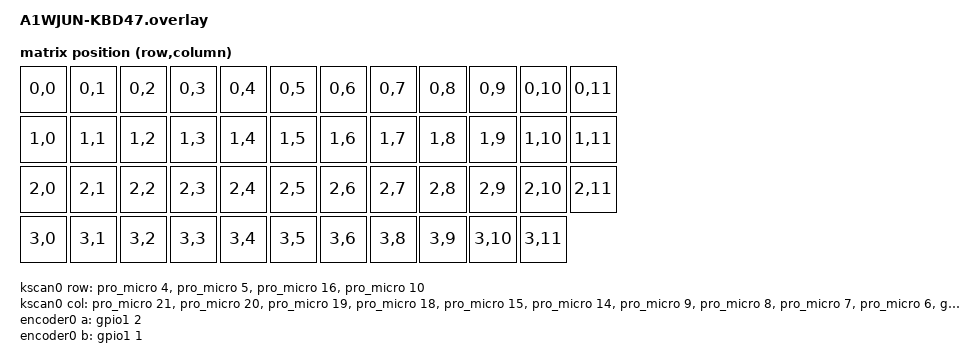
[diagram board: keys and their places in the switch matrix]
#include <dt-bindings/zmk/matrix_transform.h>
#include "A1WJUN-KBD47.dtsi"   // 已包含 physical_layouts.dtsi，避免重复 include

/ {
    // ========== 矩阵变换 ==========
    default_transform: keymap_transform_0 {
        compatible = "zmk,matrix-transform";
        columns = <12>;
        rows = <4>;
        map = <
            RC(0,0)  RC(0,1)  RC(0,2)  RC(0,3)  RC(0,4)  RC(0,5)  RC(0,6)  RC(0,7)  RC(0,8)  RC(0,9)  RC(0,10) RC(0,11)
            RC(1,0)  RC(1,1)  RC(1,2)  RC(1,3)  RC(1,4)  RC(1,5)  RC(1,6)  RC(1,7)  RC(1,8)  RC(1,9)  RC(1,10) RC(1,11)
            RC(2,0)  RC(2,1)  RC(2,2)  RC(2,3)  RC(2,4)  RC(2,5)  RC(2,6)  RC(2,7)  RC(2,8)  RC(2,9)  RC(2,10) RC(2,11)
            RC(3,0)  RC(3,1)  RC(3,2)  RC(3,3)  RC(3,4)  RC(3,5)  RC(3,6)  RC(3,8)  RC(3,9)  RC(3,10) RC(3,11)
        >;
    };

    // ========== GPIO 扫描驱动 ==========
    // wakeup-source：睡眠/软关机后，按键触发 GPIO 中断即可唤醒 MCU（机械轴唤醒）
    kscan0: kscan_0 {
        compatible = "zmk,kscan-gpio-matrix";
        status = "okay";
        wakeup-source;                              // 整个 kscan 作为唤醒源，覆盖所有 row/col GPIO
        diode-direction = "col2row";

        // 去抖 5ms，与 .conf 中 ZMK_KSCAN_DEBOUNCE_*_MS=5 保持一致
        // 机械轴适用，量产批次更稳定，避免双击
        debounce-press-ms = <5>;
        debounce-release-ms = <5>;
        debounce-scan-period-ms = <1>;

        col-gpios
           = <&pro_micro 21 GPIO_ACTIVE_HIGH>  // COL0
            , <&pro_micro 20 GPIO_ACTIVE_HIGH> // COL1
            , <&pro_micro 19 GPIO_ACTIVE_HIGH> // COL2
            , <&pro_micro 18 GPIO_ACTIVE_HIGH> // COL3
            , <&pro_micro 15 GPIO_ACTIVE_HIGH> // COL4
            , <&pro_micro 14 GPIO_ACTIVE_HIGH> // COL5
            , <&pro_micro  9 GPIO_ACTIVE_HIGH> // COL6
            , <&pro_micro  8 GPIO_ACTIVE_HIGH> // COL7
            , <&pro_micro  7 GPIO_ACTIVE_HIGH> // COL8
            , <&pro_micro  6 GPIO_ACTIVE_HIGH> // COL9
            , <&gpio0 8 GPIO_ACTIVE_HIGH>      // COL10
            , <&gpio0 6 GPIO_ACTIVE_HIGH>      // COL11
            ;

        // ROW GPIO 作为输入，被 kscan0 wakeup-source 覆盖，按键可唤醒睡眠
        row-gpios
            = <&pro_micro  4 (GPIO_ACTIVE_HIGH | GPIO_PULL_DOWN)>  // ROW0
            , <&pro_micro  5 (GPIO_ACTIVE_HIGH | GPIO_PULL_DOWN)>  // ROW1
            , <&pro_micro 16 (GPIO_ACTIVE_HIGH | GPIO_PULL_DOWN)>  // ROW2
            , <&pro_micro 10 (GPIO_ACTIVE_HIGH | GPIO_PULL_DOWN)>  // ROW3
            ;
    };

    // ========== 旋转编码器 ==========
    encoder0: encoder_0 {
        compatible = "alps,ec11";
        status = "okay";
        a-gpios = <&gpio1 2 (GPIO_ACTIVE_HIGH | GPIO_PULL_UP)>;
        b-gpios = <&gpio1 1 (GPIO_ACTIVE_HIGH | GPIO_PULL_UP)>;
        steps = <20>;
    };

    sensors: sensors {
        compatible = "zmk,keymap-sensors";
        sensors = <&encoder0>;
        triggers-per-rotation = <10>;
    };

    // ========== ZMK Studio 支持 ==========
    studio: studio {
        compatible = "zmk,studio";
        layout = <&physical_layout_0>;
    };

    // ========== chosen 节点 ==========
    chosen {
        zmk,kscan = &kscan0;
        zmk,physical-layout = &physical_layout_0;
        zmk,sensors = &sensors;
        // 电池：继承 nice_nano_v2 板级自带的 vbatt (zmk,battery-nrf-vddh)
        // 无需额外定义，VDDH 直接读电池电压 → 真实电量通过 BT_BAS 上报
    };

    // ========== 自定义行为 ==========
    behaviors {
        studio_unlock: studio_unlock {
            compatible = "zmk,behavior-studio-unlock";
            #binding-cells = <0>;
        };
    };

    // ========== 物理布局 ==========
    physical_layout_0: physical_layout_0 {
        status = "okay";
        transform = <&default_transform>;
    };
};
